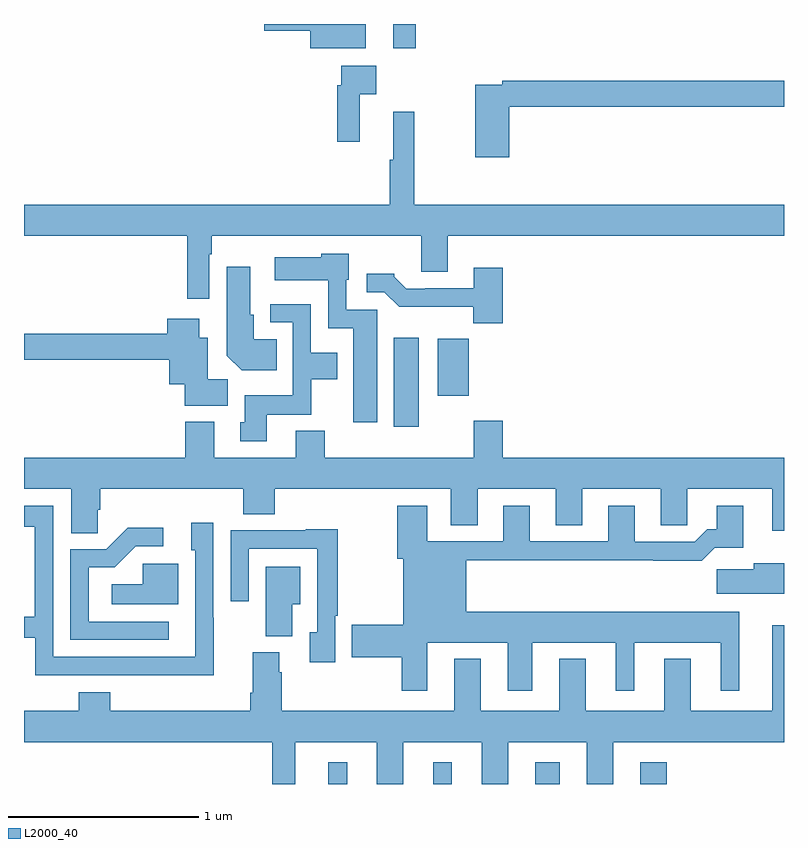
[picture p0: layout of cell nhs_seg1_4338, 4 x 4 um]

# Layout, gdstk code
import gdstk
lib = gdstk.Library(unit=1e-6, precision=1e-09)
def R(c, l, rs):  # rectangles x0, y0, x1, y1
    for r in rs: c.add(gdstk.rectangle(r[:2], r[2:], *l))
def P(c, l, *ps):  # polygons
    for p in ps: c.add(gdstk.Polygon(p, *l))
L2000_40 = (2000, 40)

nhs_seg1_4338 = lib.new_cell('nhs_seg1_4338')
R(nhs_seg1_4338, L2000_40, [(348.602,530.199,348.7,530.314), (349.154,530.199,349.252,530.314), (349.691,530.199,349.819,530.314), (350.243,530.199,350.384,530.314), (348.947,532.08,349.078,532.549), (348.944,534.072,349.061,534.199)])
P(nhs_seg1_4338, L2000_40, [(348.799,534.199),(348.264,534.199),(348.264,534.164),(348.506,534.164),(348.506,534.071),(348.799,534.071)],
  [(348.767,533.828),(348.853,533.828),(348.853,533.98),(348.669,533.98),(348.669,533.876),(348.649,533.876),(348.649,533.58),(348.767,533.58)],
  [(349.553,533.764),(351,533.764),(351,533.9),(349.516,533.9),(349.516,533.88),(349.375,533.88),(349.375,533.499),(349.553,533.499)],
  [(347.976,532.988),(347.989,532.988),(347.989,533.084),(349.091,533.084),(349.091,532.894),(349.231,532.894),(349.231,533.084),(351,533.084),(351,533.248),(349.054,533.248),(349.054,533.737),(348.944,533.737),(348.944,533.484),(348.925,533.484),(348.925,533.248),(347,533.248),(347,533.084),(347.86,533.084),(347.86,532.752),(347.976,532.752)],
  [(348.859,532.695),(348.696,532.695),(348.696,532.854),(348.709,532.854),(348.709,532.99),(348.564,532.99),(348.564,532.972),(348.321,532.972),(348.321,532.85),(348.6,532.85),(348.6,532.598),(348.734,532.598),(348.734,532.104),(348.859,532.104)],
  [(348.329,532.54),(348.208,532.54),(348.208,532.668),(348.19,532.668),(348.19,532.921),(348.068,532.921),(348.068,532.454),(348.146,532.376),(348.329,532.376)],
  [(349.52,532.915),(349.367,532.915),(349.367,532.809),(349.111,532.809),(349.111,532.806),(349.012,532.806),(348.948,532.87),(348.948,532.885),(348.804,532.885),(348.804,532.788),(348.897,532.788),(348.976,532.71),(349.365,532.71),(349.365,532.625),(349.52,532.625)],
  [(348.277,532.142),(348.513,532.142),(348.513,532.328),(348.649,532.328),(348.649,532.468),(348.51,532.468),(348.51,532.725),(348.297,532.725),(348.297,532.629),(348.414,532.629),(348.414,532.246),(348.161,532.246),(348.161,532.104),(348.137,532.104),(348.137,532.002),(348.277,532.002)],
  [(348.073,532.328),(347.968,532.328),(347.968,532.549),(347.923,532.549),(347.923,532.648),(347.753,532.648),(347.753,532.568),(347,532.568),(347,532.432),(347.765,532.432),(347.765,532.304),(347.846,532.304),(347.846,532.19),(348.073,532.19)],
  [(349.342,532.395),(349.34,532.395),(349.34,532.543),(349.178,532.543),(349.178,532.242),(349.342,532.242)],
  [(347.388,531.643),(347.402,531.643),(347.402,531.752),(348.155,531.752),(348.155,531.619),(348.32,531.619),(348.32,531.752),(349.247,531.752),(349.247,531.562),(349.387,531.562),(349.387,531.752),(349.799,531.752),(349.799,531.562),(349.939,531.562),(349.939,531.752),(350.351,531.752),(350.351,531.562),(350.49,531.562),(350.49,531.752),(350.939,531.752),(350.939,531.531),(351,531.531),(351,531.916),(349.52,531.916),(349.52,532.111),(349.367,532.111),(349.367,531.916),(348.584,531.916),(348.584,532.057),(348.431,532.057),(348.431,531.916),(348.001,531.916),(348.001,532.105),(347.849,532.105),(347.849,531.916),(347,531.916),(347,531.752),(347.249,531.752),(347.249,531.52),(347.388,531.52)],
  [(349.123,530.942),(349.547,530.942),(349.547,530.691),(349.675,530.691),(349.675,530.942),(350.114,530.942),(350.114,530.691),(350.212,530.691),(350.212,530.942),(350.666,530.942),(350.666,530.691),(350.764,530.691),(350.764,531.106),(349.327,531.106),(349.327,531.376),(350.311,531.376),(350.311,531.374),(350.567,531.374),(350.636,531.443),(350.785,531.443),(350.785,531.664),(350.645,531.664),(350.645,531.541),(350.596,531.541),(350.529,531.474),(350.215,531.474),(350.215,531.664),(350.075,531.664),(350.075,531.477),(349.663,531.477),(349.663,531.664),(349.523,531.664),(349.523,531.477),(349.123,531.477),(349.123,531.664),(348.964,531.664),(348.964,531.384),(348.995,531.384),(348.995,531.038),(348.726,531.038),(348.726,530.867),(348.988,530.867),(348.988,530.691),(349.123,530.691)],
  [(347.999,531.074),(347.997,531.074),(347.997,531.574),(347.879,531.574),(347.879,531.429),(347.901,531.429),(347.901,530.868),(347.154,530.868),(347.154,531.663),(347,531.663),(347,531.552),(347.057,531.552),(347.057,531.079),(347,531.079),(347,530.97),(347.058,530.97),(347.058,530.772),(347.536,530.772),(347.536,530.771),(347.999,530.771)],
  [(347.761,531.054),(347.34,531.054),(347.34,531.339),(347.478,531.339),(347.589,531.45),(347.734,531.45),(347.734,531.548),(347.546,531.548),(347.433,531.435),(347.244,531.435),(347.244,530.958),(347.761,530.958)],
  [(348.639,531.085),(348.652,531.085),(348.652,531.541),(348.483,531.541),(348.483,531.534),(348.087,531.534),(348.087,531.162),(348.183,531.162),(348.183,531.438),(348.543,531.438),(348.543,530.997),(348.503,530.997),(348.503,530.841),(348.639,530.841)],
  [(351,531.361),(350.84,531.361),(350.84,531.329),(350.646,531.329),(350.646,531.2),(351,531.2)],
  [(347.812,531.357),(347.625,531.357),(347.625,531.25),(347.463,531.25),(347.463,531.146),(347.812,531.146)],
  [(348.412,531.146),(348.454,531.146),(348.454,531.343),(348.272,531.343),(348.272,530.977),(348.412,530.977)],
  [(349.409,530.199),(349.549,530.199),(349.549,530.42),(349.961,530.42),(349.961,530.199),(350.101,530.199),(350.101,530.42),(351,530.42),(351,531.034),(350.939,531.034),(350.939,530.584),(350.509,530.584),(350.509,530.857),(350.369,530.857),(350.369,530.584),(349.957,530.584),(349.957,530.857),(349.817,530.857),(349.817,530.584),(349.405,530.584),(349.405,530.857),(349.265,530.857),(349.265,530.584),(348.356,530.584),(348.356,530.786),(348.343,530.786),(348.343,530.892),(348.203,530.892),(348.203,530.68),(348.191,530.68),(348.191,530.584),(347.453,530.584),(347.453,530.683),(347.288,530.683),(347.288,530.584),(347,530.584),(347,530.42),(348.306,530.42),(348.306,530.199),(348.427,530.199),(348.427,530.42),(348.857,530.42),(348.857,530.199),(348.997,530.199),(348.997,530.42),(349.409,530.42)])

lib.write_gds('nhs_seg1_4338.gds')
